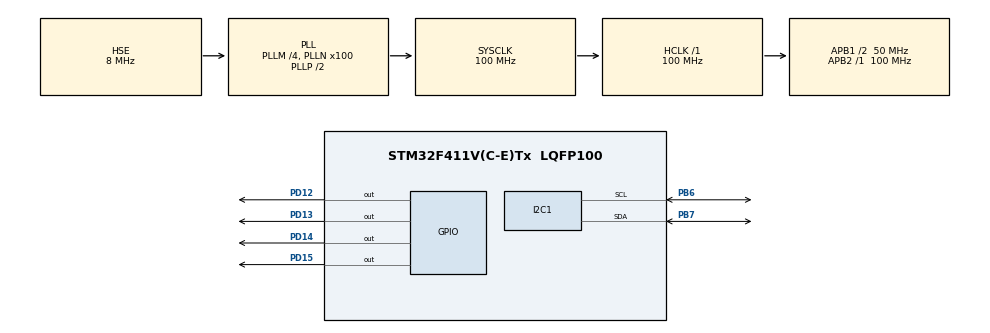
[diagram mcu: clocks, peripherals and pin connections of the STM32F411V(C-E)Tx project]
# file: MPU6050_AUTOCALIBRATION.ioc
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I2C1.I2C_Mode=I2C_Fast
Mcu.Family=STM32F4
Mcu.Name=STM32F411V(C-E)Tx
Mcu.Package=LQFP100
NVIC.PriorityGroup=NVIC_PRIORITYGROUP_4
NVIC.TIM1_TRG_COM_TIM11_IRQn=true\:0\:0\:false\:false\:true\:true\:true\:true
PB6.Mode=I2C
PB6.Signal=I2C1_SCL
PB7.Mode=I2C
PB7.Signal=I2C1_SDA
PD12.Signal=GPIO_Output
PD13.Signal=GPIO_Output
PD14.Signal=GPIO_Output
PD15.Signal=GPIO_Output
PH0\ -\ OSC_IN.Mode=HSE-External-Oscillator
PH0\ -\ OSC_IN.Signal=RCC_OSC_IN
PH1\ -\ OSC_OUT.Mode=HSE-External-Oscillator
PH1\ -\ OSC_OUT.Signal=RCC_OSC_OUT
ProjectManager.HeapSize=0x200
ProjectManager.StackSize=0x400
ProjectManager.TargetToolchain=STM32CubeIDE
RCC.48MHZClocksFreq_Value=50000000
RCC.AHBFreq_Value=100000000
RCC.APB1CLKDivider=RCC_HCLK_DIV2
RCC.APB1Freq_Value=50000000
RCC.APB1TimFreq_Value=100000000
RCC.APB2Freq_Value=100000000
RCC.APB2TimFreq_Value=100000000
RCC.CortexFreq_Value=100000000
RCC.EnbaleCSS=true
RCC.HCLKFreq_Value=100000000
RCC.HSE_VALUE=8000000
RCC.HSI_VALUE=16000000
RCC.LSE_VALUE=32768
RCC.PLLM=4
RCC.PLLN=100
RCC.PLLSourceVirtual=RCC_PLLSOURCE_HSE
RCC.SYSCLKFreq_VALUE=100000000
RCC.SYSCLKSource=RCC_SYSCLKSOURCE_PLLCLK
RCC.VCOOutputFreq_Value=200000000
TIM11.Period=999
TIM11.Prescaler=99
VP_TIM11_VS_ClockSourceINT.Mode=Enable_Timer
board=custom

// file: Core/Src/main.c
/* USER CODE BEGIN Header */
/**
  ******************************************************************************
  * @file           : main.c
  * @brief          : Main program body
  ******************************************************************************
  * @attention
  *
  * Copyright (c) 2022 STMicroelectronics.
  * All rights reserved.
  *
  * This software is licensed under terms that can be found in the LICENSE file
  * in the root directory of this software component.
  * If no LICENSE file comes with this software, it is provided AS-IS.
  *
  ******************************************************************************
  */
/* USER CODE END Header */
#include "main.h"
#include "i2c.h"
#include "tim.h"
#include "gpio.h"

/* USER CODE BEGIN Includes */
#include "MPU6050.h"
#include <stdio.h>
/* USER CODE END Includes */

void SystemClock_Config(void);

/* USER CODE BEGIN 0 */
long cnt11;
int ZTh;
int ZDur;
int motionStatus;
float yaw;
int16_t gyroOffset[3];
uint8_t control;
int time;
/* USER CODE END 0 */

int main(void)
{

  /* MCU Configuration--------------------------------------------------------*/

  /* Reset of all peripherals, Initializes the Flash interface and the Systick. */
  HAL_Init();

  /* Configure the system clock */
  SystemClock_Config();

  /* Initialize all configured peripherals */
  MX_GPIO_Init();
  MX_I2C1_Init();
  MX_TIM11_Init();

  /* Infinite loop */
  /* USER CODE BEGIN WHILE */
  IIC_Init(hi2c1);
  IIC_InitLockupRecover(GPIOB, 		//scl
		  	  	  	  	GPIO_PIN_6, //scl
						GPIOB, 		//sda
						GPIO_PIN_7);//sda
  IIC_LockupRecover();

  printf("\n\rMPU6050 is initializing....\n\r");
  MPU6050_initialize();
  printf("\n\rMPU6050 has been initialized....\n\r");
  MPU6050_DMPInit();
  dmp_enable_gyro_cal(0);
//  MPU6050_setZGyroOffset(-32);
  MPU6050_GyroCalibration(200);

  printf("Gyro Has Been Calibrated!!!!!!!!!!\n");

  ZDur = MPU6050_getZeroMotionDetectionDuration();
  ZTh = MPU6050_getZeroMotionDetectionThreshold();

  HAL_TIM_Base_Start_IT(&htim11);
  while (1)
  {
	  MPU6050_getAllGyroOffset(gyroOffset);
	  long lastTime = HAL_GetTick();
	  yaw = MPU6050_readDMPYaw();
	  time = HAL_GetTick() - lastTime;

	  MPU6050_GyroContinuosCalibration(5000, 0);
	  HAL_Delay(100);
    /* USER CODE END WHILE */

  }
}

void SystemClock_Config(void)
{
  RCC_OscInitTypeDef RCC_OscInitStruct = {0};
  RCC_ClkInitTypeDef RCC_ClkInitStruct = {0};

  /** Configure the main internal regulator output voltage
  */
  __HAL_RCC_PWR_CLK_ENABLE();
  __HAL_PWR_VOLTAGESCALING_CONFIG(PWR_REGULATOR_VOLTAGE_SCALE1);

  /** Initializes the RCC Oscillators according to the specified parameters
  * in the RCC_OscInitTypeDef structure.
  */
  RCC_OscInitStruct.OscillatorType = RCC_OSCILLATORTYPE_HSE;
  RCC_OscInitStruct.HSEState = RCC_HSE_ON;
  RCC_OscInitStruct.PLL.PLLState = RCC_PLL_ON;
  RCC_OscInitStruct.PLL.PLLSource = RCC_PLLSOURCE_HSE;
  RCC_OscInitStruct.PLL.PLLM = 4;
  RCC_OscInitStruct.PLL.PLLN = 100;
  RCC_OscInitStruct.PLL.PLLP = RCC_PLLP_DIV2;
  RCC_OscInitStruct.PLL.PLLQ = 4;
  if (HAL_RCC_OscConfig(&RCC_OscInitStruct) != HAL_OK)
  {
    Error_Handler();
  }

  /** Initializes the CPU, AHB and APB buses clocks
  */
  RCC_ClkInitStruct.ClockType = RCC_CLOCKTYPE_HCLK|RCC_CLOCKTYPE_SYSCLK
                              |RCC_CLOCKTYPE_PCLK1|RCC_CLOCKTYPE_PCLK2;
  RCC_ClkInitStruct.SYSCLKSource = RCC_SYSCLKSOURCE_PLLCLK;
  RCC_ClkInitStruct.AHBCLKDivider = RCC_SYSCLK_DIV1;
  RCC_ClkInitStruct.APB1CLKDivider = RCC_HCLK_DIV2;
  RCC_ClkInitStruct.APB2CLKDivider = RCC_HCLK_DIV1;

  if (HAL_RCC_ClockConfig(&RCC_ClkInitStruct, FLASH_LATENCY_3) != HAL_OK)
  {
    Error_Handler();
  }

  /** Enables the Clock Security System
  */
  HAL_RCC_EnableCSS();
}

/* USER CODE BEGIN 4 */
int _write(int file, char *ptr, int len)
{
	int DataIdx;

	for (DataIdx = 0; DataIdx < len; DataIdx++)
	{
		ITM_SendChar(*ptr++);
	}
	return len;
}

void HAL_TIM_PeriodElapsedCallback(TIM_HandleTypeDef *htim)
{
	if(htim == &htim11)
	{
		cnt11++;

		if(cnt11%1000 == 0)
		{
//			MPU6050_getDriftingRate(&pr, &rr, &yr);		// it uses to check drifting rate
			MPU6050_updateAngleCorrector();
		}
	}
}
/* USER CODE END 4 */

void Error_Handler(void)
{
  __disable_irq();
  while (1)
  {
  }
}
